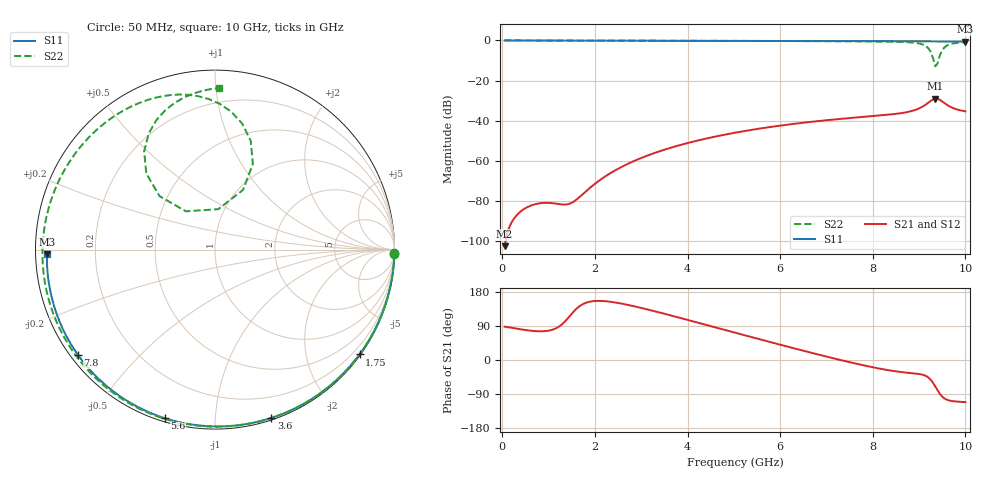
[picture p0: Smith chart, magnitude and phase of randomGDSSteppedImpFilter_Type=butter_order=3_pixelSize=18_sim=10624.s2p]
! freq	dB(S11)	phase(S11)	dB(S12)	phase(S12)
!  dB(S21)	phase(S21)	dB(S22)	phase(S22)
!S-par simulation data
#  GHz  S  DB  R 50
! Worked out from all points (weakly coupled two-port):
!   200 points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, 50 MHz to 10 GHz, reference 50 ohm
!   highest |S21| = -29.05 dB at 9.35 GHz (marker M1); lowest = -102.7 dB at 50 MHz (marker M2)
!   lowest |S11| = -0.6 dB at 10 GHz (marker M3), VSWR 30.49, Z = 1.64 - j0.685 ohm
!   |S11| at or under -10 dB: nowhere
!   |S22| runs from -12.9 to 0.0 dB; largest |S21 - S12| = 0
!   S11 on the Smith chart (normalised r, x): 50 MHz: open; 1.75 GHz: 0.03, -3.08; 3.6 GHz: 0.02, -1.39; 5.6 GHz: 0.02, -0.75; 7.8 GHz: 0.02, -0.34; 10 GHz: 0.03, -0.01
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0.05  -0.00 -1.1  -102.73 88.0  -102.73 88.0  -0.00 -1.5
0.75  -0.02 -15.6  -81.56 75.9  -81.56 75.9  -0.02 -21.4
1.55  -0.04 -31.9  -80.36 129.0  -80.36 129.0  -0.06 -43.8
1.75  -0.05 -35.9  -76.52 148.0  -76.52 148.0  -0.06 -49.3
2.45  -0.06 -49.8  -64.71 151.6  -64.71 151.6  -0.09 -68.2
3.4  -0.09 -67.8  -55.31 125.2  -55.31 125.2  -0.12 -93.1
3.6  -0.10 -71.5  -53.84 118.9  -53.84 118.9  -0.13 -98.2
5.05  -0.15 -97.3  -45.97 71.3  -45.97 71.3  -0.21 -135.1
5.6  -0.18 -106.6  -43.86 53.3  -43.86 53.3  -0.24 -149.2
6.7  -0.24 -124.7  -40.56 18.2  -40.56 18.2  -0.34 -178.9
7.8  -0.33 -142.4  -38.17 -14.0  -38.17 -14.0  -0.48 147.3
8.35  -0.38 -151.2  -37.05 -27.1  -37.05 -27.1  -0.62 127.1
8.75  -0.42 -157.7  -35.74 -33.7  -35.74 -33.7  -0.89 108.7
9  -0.45 -161.8  -33.94 -36.9  -33.94 -36.9  -1.51 92.5
9.15  -0.47 -164.2  -31.92 -42.2  -31.92 -42.2  -2.87 77.8
9.25  -0.48 -165.8  -30.19 -51.9  -30.19 -51.9  -5.66 66.1
9.35  -0.49 -167.5  -29.05 -69.9  -29.05 -69.9  -12.93 85.4
9.4  -0.50 -168.3  -29.14 -80.4  -29.14 -80.4  -11.43 127.3
9.45  -0.50 -169.1  -29.67 -89.8  -29.67 -89.8  -7.34 136.1
9.55  -0.51 -170.8  -31.31 -101.7  -31.31 -101.7  -3.42 125.8
9.75  -0.54 -174.2  -33.91 -109.0  -33.91 -109.0  -1.43 105.3
10  -0.57 -178.4  -35.41 -111.3  -35.41 -111.3  -0.91 88.4
